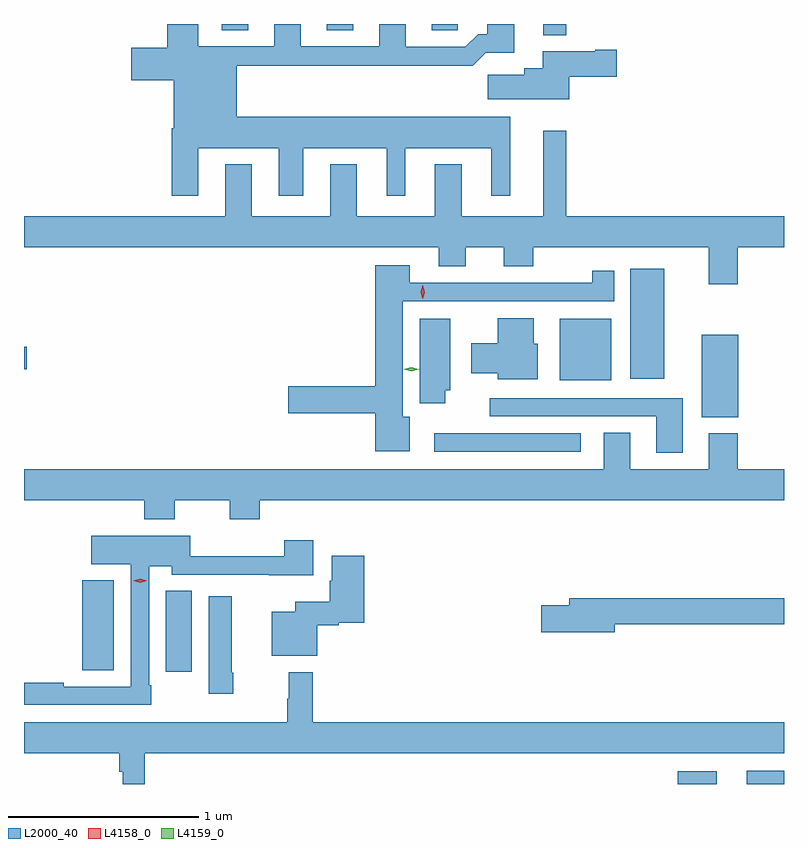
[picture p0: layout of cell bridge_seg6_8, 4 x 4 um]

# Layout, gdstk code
import gdstk
lib = gdstk.Library(unit=1e-6, precision=1e-09)
def R(c, l, rs):  # rectangles x0, y0, x1, y1
    for r in rs: c.add(gdstk.rectangle(r[:2], r[2:], *l))
def P(c, l, *ps):  # polygons
    for p in ps: c.add(gdstk.Polygon(p, *l))
L2000_40 = (2000, 40)
L4158_0 = (4158, 0)
L4159_0 = (4159, 0)

bridge_seg6_8 = lib.new_cell('bridge_seg6_8')
R(bridge_seg6_8, L2000_40, [(975.023,959.163,975.229,959.23), (975.386,959.163,975.582,959.232), (972.329,959.754,972.466,960.179), (971.888,959.761,972.055,960.235), (973.74,960.912,974.512,961.008), (975.149,961.094,975.34,961.528), (974.402,961.289,974.674,961.612), (974.774,961.295,974.953,961.876), (971.582,961.347,971.597,961.465), (974.315,963.104,974.437,963.163), (972.623,963.13,972.763,963.163), (973.175,963.13,973.315,963.163), (973.727,963.13,973.866,963.163)])
P(bridge_seg6_8, L2000_40, [(972.499,962.51),(972.923,962.51),(972.923,962.259),(973.051,962.259),(973.051,962.51),(973.49,962.51),(973.49,962.259),(973.588,962.259),(973.588,962.51),(974.042,962.51),(974.042,962.259),(974.14,962.259),(974.14,962.674),(972.703,962.674),(972.703,962.944),(973.687,962.944),(973.687,962.942),(973.943,962.942),(974.012,963.011),(974.161,963.011),(974.161,963.163),(974.021,963.163),(974.021,963.109),(973.972,963.109),(973.905,963.042),(973.591,963.042),(973.591,963.163),(973.451,963.163),(973.451,963.045),(973.039,963.045),(973.039,963.163),(972.899,963.163),(972.899,963.045),(972.499,963.045),(972.499,963.163),(972.335,963.163),(972.335,963.037),(972.147,963.037),(972.147,962.867),(972.371,962.867),(972.371,962.614),(972.359,962.614),(972.359,962.259),(972.499,962.259)],
  [(974.452,962.885),(974.701,962.885),(974.701,963.027),(974.588,963.027),(974.588,963.019),(974.312,963.019),(974.312,962.929),(974.216,962.929),(974.216,962.897),(974.022,962.897),(974.022,962.768),(974.452,962.768)],
  [(973.766,961.889),(973.906,961.889),(973.906,961.988),(974.108,961.988),(974.108,961.889),(974.261,961.889),(974.261,961.988),(975.185,961.988),(975.185,961.794),(975.338,961.794),(975.338,961.988),(975.582,961.988),(975.582,962.152),(974.437,962.152),(974.437,962.602),(974.315,962.602),(974.315,962.152),(973.885,962.152),(973.885,962.425),(973.745,962.425),(973.745,962.152),(973.333,962.152),(973.333,962.425),(973.193,962.425),(973.193,962.152),(972.781,962.152),(972.781,962.425),(972.641,962.425),(972.641,962.152),(971.582,962.152),(971.582,961.988),(973.766,961.988)],
  [(973.612,961.096),(973.576,961.096),(973.576,961.704),(974.689,961.704),(974.689,961.864),(974.572,961.864),(974.572,961.802),(974.344,961.802),(974.344,961.8),(973.612,961.8),(973.612,961.894),(973.43,961.894),(973.43,961.256),(972.972,961.256),(972.972,961.114),(973.43,961.114),(973.43,960.914),(973.612,960.914)],
  [(974.287,961.479),(974.266,961.479),(974.266,961.615),(974.075,961.615),(974.075,961.483),(973.935,961.483),(973.935,961.325),(974.075,961.325),(974.075,961.292),(974.287,961.292)],
  [(973.798,961.236),(973.825,961.236),(973.825,961.612),(973.664,961.612),(973.664,961.167),(973.798,961.167)],
  [(975.049,961.194),(974.034,961.194),(974.034,961.098),(974.909,961.098),(974.909,960.906),(975.049,960.906)],
  [(972.375,960.656),(972.664,960.656),(972.664,960.557),(972.824,960.557),(972.824,960.656),(975.582,960.656),(975.582,960.82),(975.338,960.82),(975.338,961.009),(975.185,961.009),(975.185,960.82),(974.773,960.82),(974.773,961.013),(974.633,961.013),(974.633,960.82),(971.582,960.82),(971.582,960.656),(972.215,960.656),(972.215,960.557),(972.375,960.557)],
  [(972.253,959.683),(972.24,959.683),(972.24,960.308),(972.36,960.308),(972.36,960.264),(972.869,960.264),(972.869,960.263),(973.105,960.263),(973.105,960.445),(972.953,960.445),(972.953,960.362),(972.456,960.362),(972.456,960.469),(971.937,960.469),(971.937,960.32),(972.144,960.32),(972.144,959.676),(971.792,959.676),(971.792,959.696),(971.582,959.696),(971.582,959.58),(972.253,959.58)],
  [(973.126,959.999),(973.239,959.999),(973.239,960.011),(973.373,960.011),(973.373,960.364),(973.202,960.364),(973.202,960.234),(973.19,960.234),(973.19,960.121),(973.01,960.121),(973.01,960.07),(972.887,960.07),(972.887,959.837),(973.126,959.837)],
  [(972.684,959.749),(972.676,959.749),(972.676,960.151),(972.554,960.151),(972.554,959.637),(972.684,959.637)],
  [(974.692,960.004),(975.582,960.004),(975.582,960.14),(974.453,960.14),(974.453,960.104),(974.304,960.104),(974.304,959.962),(974.692,959.962)],
  [(972.218,959.324),(975.582,959.324),(975.582,959.488),(973.103,959.488),(973.103,959.752),(972.975,959.752),(972.975,959.612),(972.967,959.612),(972.967,959.488),(971.582,959.488),(971.582,959.324),(972.082,959.324),(972.082,959.228),(972.102,959.228),(972.102,959.163),(972.218,959.163)])
P(bridge_seg6_8, L4158_0, [(973.68,961.716),(973.68,961.716),(973.671,961.752),(973.681,961.788),(973.681,961.788),(973.681,961.788),(973.691,961.752),(973.68,961.716)],
  [(972.193,960.223),(972.158,960.232),(972.158,960.233),(972.158,960.233),(972.193,960.243),(972.228,960.233),(972.228,960.233),(972.228,960.232)])
P(bridge_seg6_8, L4159_0, [(973.62,961.336),(973.58,961.345),(973.579,961.345),(973.58,961.345),(973.62,961.356),(973.66,961.347),(973.661,961.346),(973.66,961.346)])

lib.write_gds('bridge_seg6_8.gds')
